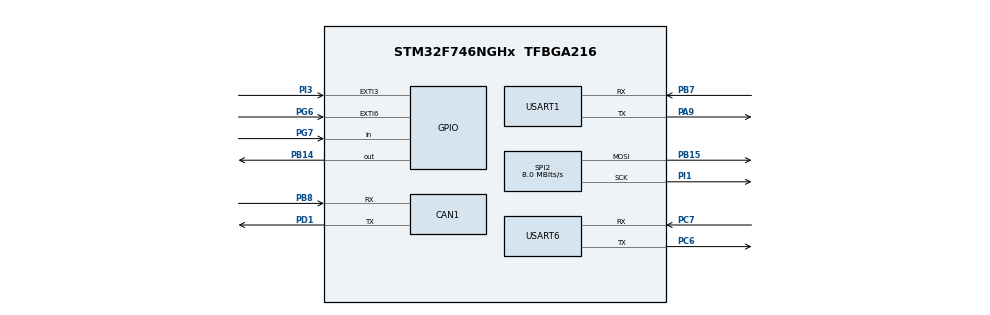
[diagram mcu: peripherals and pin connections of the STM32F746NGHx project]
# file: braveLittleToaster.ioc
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CAN1.CalculateTimeQuantum=1000.0
Mcu.Family=STM32F7
Mcu.Name=STM32F746NGHx
Mcu.Package=TFBGA216
NVIC.CAN1_RX1_IRQn=true\:0\:0\:false\:false\:true\:true
NVIC.CAN1_TX_IRQn=true\:0\:0\:false\:false\:true\:true
NVIC.EXTI3_IRQn=true\:0\:0\:false\:false\:true\:true
NVIC.EXTI9_5_IRQn=true\:0\:0\:false\:false\:true\:true
NVIC.PriorityGroup=NVIC_PRIORITYGROUP_4
NVIC.USART6_IRQn=true\:7\:0\:true\:false\:true\:true
PA9.Mode=Asynchronous
PA9.Signal=USART1_TX
PB14.Signal=GPIO_Output
PB15.Mode=TX_Only_Simplex_Unidirect_Master
PB15.Signal=SPI2_MOSI
PB7.Mode=Asynchronous
PB7.Signal=USART1_RX
PB8.Mode=Master
PB8.Signal=CAN1_RX
PC6.Mode=Asynchronous
PC6.Signal=USART6_TX
PC7.Mode=Asynchronous
PC7.Signal=USART6_RX
PD1.Mode=Master
PD1.Signal=CAN1_TX
PG6.GPIO_PuPd=GPIO_PULLUP
PG6.Signal=GPXTI6
PG7.GPIO_PuPd=GPIO_PULLUP
PG7.Signal=GPIO_Input
PI1.Mode=TX_Only_Simplex_Unidirect_Master
PI1.Signal=SPI2_SCK
PI3.GPIO_ModeDefaultEXTI=GPIO_MODE_IT_RISING_FALLING
PI3.GPIO_PuPd=GPIO_PULLUP
PI3.Signal=GPXTI3
ProjectManager.HeapSize=0x200
ProjectManager.StackSize=0x400
ProjectManager.TargetToolchain=Other Toolchains (GPDSC)
RCC.HSE_VALUE=25000000
RCC.HSI_VALUE=16000000
RCC.LSE_VALUE=32768
RCC.USBFreq_Value=96000000
RCC.VCOOutputFreq_Value=192000000
SPI2.CalculateBaudRate=8.0 MBits/s
SPI2.Direction=SPI_DIRECTION_2LINES
SPI2.Mode=SPI_MODE_MASTER
SPI2.VirtualType=VM_MASTER
USART1.VirtualMode-Asynchronous=VM_ASYNC
USART6.VirtualMode-Asynchronous=VM_ASYNC
board=custom

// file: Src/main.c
/**
  ******************************************************************************
  * @file           : main.c
  * @brief          : Main program body
  ******************************************************************************
  ** This notice applies to any and all portions of this file
  * that are not between comment pairs USER CODE BEGIN and
  * USER CODE END. Other portions of this file, whether
  * inserted by the user or by software development tools
  * are owned by their respective copyright owners.
  *
  * COPYRIGHT(c) 2018 STMicroelectronics
  *
  * Redistribution and use in source and binary forms, with or without modification,
  * are permitted provided that the following conditions are met:
  *   1. Redistributions of source code must retain the above copyright notice,
  *      this list of conditions and the following disclaimer.
  *   2. Redistributions in binary form must reproduce the above copyright notice,
  *      this list of conditions and the following disclaimer in the documentation
  *      and/or other materials provided with the distribution.
  *   3. Neither the name of STMicroelectronics nor the names of its contributors
  *      may be used to endorse or promote products derived from this software
  *      without specific prior written permission.
  *
  * THIS SOFTWARE IS PROVIDED BY THE COPYRIGHT HOLDERS AND CONTRIBUTORS "AS IS"
  * AND ANY EXPRESS OR IMPLIED WARRANTIES, INCLUDING, BUT NOT LIMITED TO, THE
  * IMPLIED WARRANTIES OF MERCHANTABILITY AND FITNESS FOR A PARTICULAR PURPOSE ARE
  * DISCLAIMED. IN NO EVENT SHALL THE COPYRIGHT HOLDER OR CONTRIBUTORS BE LIABLE
  * FOR ANY DIRECT, INDIRECT, INCIDENTAL, SPECIAL, EXEMPLARY, OR CONSEQUENTIAL
  * DAMAGES (INCLUDING, BUT NOT LIMITED TO, PROCUREMENT OF SUBSTITUTE GOODS OR
  * SERVICES; LOSS OF USE, DATA, OR PROFITS; OR BUSINESS INTERRUPTION) HOWEVER
  * CAUSED AND ON ANY THEORY OF LIABILITY, WHETHER IN CONTRACT, STRICT LIABILITY,
  * OR TORT (INCLUDING NEGLIGENCE OR OTHERWISE) ARISING IN ANY WAY OUT OF THE USE
  * OF THIS SOFTWARE, EVEN IF ADVISED OF THE POSSIBILITY OF SUCH DAMAGE.
  *
  ******************************************************************************
  */
#include "main.h"
#include "stm32f7xx_hal.h"

/* USER CODE BEGIN Includes */

#define ledLevelsFromEncoderTest
//#define allLedsTransitionTest
//#define knightRiderTest
//#define scrollColorTest
//#define allLedsWhiteTest

/* USER CODE END Includes */

CAN_HandleTypeDef hcan1;

SPI_HandleTypeDef hspi2;

UART_HandleTypeDef huart1;
UART_HandleTypeDef huart6;

/* USER CODE BEGIN PV */
/* Private variables ---------------------------------------------------------*/

LED_PTR led_array[NUM_LEDS];
TLC5947 tlc5947;
BUTTON button;
ENCODER encoder;
DEBUG_MSG debugOutput;

uint8_t serialDebugRxChar[2];

CAN_TxHeaderTypeDef   TxHeader;
CAN_RxHeaderTypeDef   RxHeader;
uint8_t               TxData[8];
uint8_t               RxData[8];
uint32_t              TxMailbox;

/* USER CODE END PV */

void SystemClock_Config(void);
static void MX_GPIO_Init(void);
static void MX_SPI2_Init(void);
static void MX_USART1_UART_Init(void);
static void MX_USART6_UART_Init(void);
static void MX_CAN1_Init(void);

/* USER CODE BEGIN PFP */

/* Private function prototypes -----------------------------------------------*/
static void mapLedPointersToPwmOutputs(TLC5947 * tlc5947, LED_PTR led_array[], unsigned char numLeds);

extern unsigned int rgbTransitionLEDColor(COLOR color, LED_PTR lednum);
extern void rgbSetLEDColorAndLevel(COLOR color, LED_PTR lednum);
extern void rgbCalculateLedLevels(unsigned char zoneLevel, LED_PTR led_array[], unsigned int num_leds);
extern COLOR colors[MAX_COLOR_STRUCTS];

extern void tlc5947Init(TLC5947 * tlc5947, SPI_HandleTypeDef * spi, GPIO_TypeDef * latchGpioGroup, uint16_t latchGpioPin);
extern void tlc5947SetPWMOutputsFromBuffer(TLC5947 * tlc5947);

extern void buttonInit(BUTTON * button, GPIO_TypeDef * gpioGroup, uint16_t gpioPin);
extern void encoderInit(ENCODER * encoder, GPIO_TypeDef * encAGpioGroup, GPIO_TypeDef * encBGpioGroup, uint16_t encAGpioPin, uint16_t encBGpioPin);

extern void serialDebugRead(UART_HandleTypeDef * uart);

extern void HAL_GPIO_EXTI_Callback(uint16_t GPIO_Pin);

extern int strncmp(const char *s1, const char *s2, size_t n);

/* USER CODE END PFP */

int main(void)
{

	/* MCU Configuration----------------------------------------------------------*/

	/* Reset of all peripherals, Initializes the Flash interface and the Systick. */
	HAL_Init();

	/* Configure the system clock */
	SystemClock_Config();

	/* Initialize all configured peripherals */
	MX_GPIO_Init();
	MX_SPI2_Init();
	MX_USART1_UART_Init();
	MX_USART6_UART_Init();
	MX_CAN1_Init();

	/* USER CODE BEGIN 2 */

	CAN_FilterTypeDef  sFilterConfig;
	sFilterConfig.FilterBank = 0;
	sFilterConfig.FilterMode = CAN_FILTERMODE_IDMASK;
	sFilterConfig.FilterScale = CAN_FILTERSCALE_32BIT;
	sFilterConfig.FilterIdHigh = 0x0000;
	sFilterConfig.FilterIdLow = 0x0000;
	sFilterConfig.FilterMaskIdHigh = 0x0000;
	sFilterConfig.FilterMaskIdLow = 0x0000;
	sFilterConfig.FilterFIFOAssignment = CAN_RX_FIFO0;
	sFilterConfig.FilterActivation = ENABLE;
	sFilterConfig.SlaveStartFilterBank = 14;
	if (HAL_CAN_ConfigFilter(&hcan1, &sFilterConfig) != HAL_OK)
	{
		/* Filter configuration Error */
		Error_Handler();
	}
	if (HAL_CAN_Start(&hcan1) != HAL_OK)
	{
		/* Filter configuration Error */
		Error_Handler();
	}

	tlc5947Init(&tlc5947, &hspi2, GPIOB, GPIO_PIN_14);
	buttonInit(&button, GPIOI, GPIO_PIN_3);
	encoderInit(&encoder, GPIOG, GPIOG, GPIO_PIN_6, GPIO_PIN_7);

	HAL_StatusTypeDef status;

	mapLedPointersToPwmOutputs(&tlc5947, led_array, NUM_LEDS);

	/* USER CODE END 2 */

	/* Infinite loop */
	/* USER CODE BEGIN WHILE */

	while (1)
	{

	#ifdef allLedsWhiteTest
		int i;
		for (i = 0; i < PWM_BUFLEN; i++)
		{
			tlc5947.pwmBuffer.buf[i] = 0xff;
		}
		tlc5947SetPWMOutputsFromBuffer(&tlc5947);
		HAL_Delay(1000);

		for (i = 0; i < PWM_BUFLEN; i++)
		{
			tlc5947.pwmBuffer.buf[i] = 0x00;
		}
		tlc5947SetPWMOutputsFromBuffer(&tlc5947);
		HAL_Delay(1000);
		#endif

		#ifdef scrollColorTest
		static int color = 0;
		static int led = 0;
		for (int i = 0; i < PWM_BUFLEN; i++)
		{
			tlc5947.pwmBuffer.buf[i] = 0;    //comment out for different effect
		}

		led_array[led].level = MAX_LED_LEVEL;
		rgbSetLEDColorAndLevel(colors[color], led_array[led]);
		led++;
		if (led >= NUM_LEDS)
		{
			led = 0;
			color++;
			if (color >= MAX_COLOR_STRUCTS) color = 0;
		}
		tlc5947SetPWMOutputsFromBuffer(&tlc5947);
		HAL_Delay(125);
		#endif

		#ifdef knightRiderTest
		static int color = 0;
		static int led = 0;
		static int direction = 1;
		for (int i = 0; i < PWM_BUFLEN; i++)
		{
			tlc5947.pwmBuffer.buf[i] = 0;
		}
		rgbCalculateLedLevels(MAX_LED_LEVEL, led_array, NUM_LEDS);

		if (led < NUM_LEDS && led >= 0)
			rgbSetLEDColorAndLevel(colors[color], led_array[led]);
		if (led + 1 < NUM_LEDS)
			rgbSetLEDColorAndLevel(colors[color], led_array[led + 1]);
		if (led - 1 >= 0)
			rgbSetLEDColorAndLevel(colors[color], led_array[led - 1]);
		if (direction == 1) led++;
		else if (direction == -1) led--;

		if (led >= NUM_LEDS)
		{
			direction = -1;
		}

		if (led < 0)
		{
			direction = 1;
			color++;
			if (color >= MAX_COLOR_STRUCTS) color = 0;
		}
		tlc5947SetPWMOutputsFromBuffer(&tlc5947);
		HAL_Delay(75);
		#endif

		#ifdef allLedsTransitionTest
		static int color_struct = 0;
		///*
		for(int i = 0 ; i < NUM_LEDS - 1 ; i++) //do all but last led here...
		{
			rgbTransitionLEDColor(colors[color_struct], /*i*/led_array[i]);
		}
		//*/
		//transitionLEDColor(colors[color_struct], 1);
		if(rgbTransitionLEDColor(colors[color_struct], /*NUM_LEDS - 1*/led_array[NUM_LEDS - 1])) //...do final led and check for transition
		{
			color_struct++;
			HAL_Delay(500);     //pause on this color for a bit
		}
		if (color_struct == MAX_COLOR_STRUCTS)
		{
			color_struct = 0;
		}
		//tlc5947SetPWMOutputsFromBuffer(pwmOutputs, REAL_PWM_LEN);
		tlc5947SetPWMOutputsFromBuffer(&tlc5947);

		//HAL_Delay(10); //debug
		#endif

		#ifdef	ledLevelsFromEncoderTest

		rgbCalculateLedLevels(encoder.position, led_array, NUM_LEDS);

		for (int i = 0; i < NUM_LEDS; i++)
		{
			if (button.muted == 1)
				rgbSetLEDColorAndLevel(colors[RED], led_array[i]);
			else
				rgbSetLEDColorAndLevel(colors[GREEN], led_array[i]);
		}
		tlc5947SetPWMOutputsFromBuffer(&tlc5947);
		#endif

		HAL_UART_Receive_IT(&huart6, serialDebugRxChar, 1); 		//interrupt every character! callback will decide what to do with it

		if(debugOutput.response[0] != 0) //if there is anything in the debug output buffer, print it
		{
			HAL_UART_Transmit(&huart6, debugOutput.response, sizeof(debugOutput.response), HAL_MAX_DELAY);
			for (int i = 0; i < MSG_RESPONSE_LEN; i++) debugOutput.response[i] = 0;
		}

		/*##-4- Start the Transmission process #####################################*/
		/*
		TxHeader.StdId = 0x11;
		TxHeader.RTR = CAN_RTR_DATA;
		TxHeader.IDE = CAN_ID_STD;
		TxHeader.DLC = 2;
		TxHeader.TransmitGlobalTime = DISABLE;
		TxData[0] = 0xCA;
		TxData[1] = 0xFE;

		uint32_t timeNow;
		static uint32_t timeThen = 0;
		static int okay;
		timeNow = HAL_GetTick();
		if (timeNow - timeThen > 20)
		{
			if (HAL_CAN_AddTxMessage(&hcan1, &TxHeader, TxData, &TxMailbox) != HAL_OK)
			{
				uint32_t free;
				free = HAL_CAN_GetTxMailboxesFreeLevel(&hcan1);

				Error_Handler();
			}
			else
			{
				okay++;
			}
			timeThen = timeNow;
		}
		*/
		/* USER CODE END WHILE */

	}
}

void SystemClock_Config(void)
{

  RCC_OscInitTypeDef RCC_OscInitStruct;
  RCC_ClkInitTypeDef RCC_ClkInitStruct;
  RCC_PeriphCLKInitTypeDef PeriphClkInitStruct;

    /**Configure the main internal regulator output voltage
    */
  __HAL_RCC_PWR_CLK_ENABLE();

  __HAL_PWR_VOLTAGESCALING_CONFIG(PWR_REGULATOR_VOLTAGE_SCALE3);

    /**Initializes the CPU, AHB and APB busses clocks
    */
  RCC_OscInitStruct.OscillatorType = RCC_OSCILLATORTYPE_HSI;
  RCC_OscInitStruct.HSIState = RCC_HSI_ON;
  RCC_OscInitStruct.HSICalibrationValue = 16;
  RCC_OscInitStruct.PLL.PLLState = RCC_PLL_NONE;
  if (HAL_RCC_OscConfig(&RCC_OscInitStruct) != HAL_OK)
  {
    _Error_Handler(__FILE__, __LINE__);
  }

    /**Initializes the CPU, AHB and APB busses clocks
    */
  RCC_ClkInitStruct.ClockType = RCC_CLOCKTYPE_HCLK|RCC_CLOCKTYPE_SYSCLK
                              |RCC_CLOCKTYPE_PCLK1|RCC_CLOCKTYPE_PCLK2;
  RCC_ClkInitStruct.SYSCLKSource = RCC_SYSCLKSOURCE_HSI;
  RCC_ClkInitStruct.AHBCLKDivider = RCC_SYSCLK_DIV1;
  RCC_ClkInitStruct.APB1CLKDivider = RCC_HCLK_DIV1;
  RCC_ClkInitStruct.APB2CLKDivider = RCC_HCLK_DIV1;

  if (HAL_RCC_ClockConfig(&RCC_ClkInitStruct, FLASH_LATENCY_0) != HAL_OK)
  {
    _Error_Handler(__FILE__, __LINE__);
  }

  PeriphClkInitStruct.PeriphClockSelection = RCC_PERIPHCLK_USART1|RCC_PERIPHCLK_USART6;
  PeriphClkInitStruct.Usart1ClockSelection = RCC_USART1CLKSOURCE_PCLK2;
  PeriphClkInitStruct.Usart6ClockSelection = RCC_USART6CLKSOURCE_PCLK2;
  if (HAL_RCCEx_PeriphCLKConfig(&PeriphClkInitStruct) != HAL_OK)
  {
    _Error_Handler(__FILE__, __LINE__);
  }

    /**Configure the Systick interrupt time
    */
  HAL_SYSTICK_Config(HAL_RCC_GetHCLKFreq()/1000);

    /**Configure the Systick
    */
  HAL_SYSTICK_CLKSourceConfig(SYSTICK_CLKSOURCE_HCLK);

  /* SysTick_IRQn interrupt configuration */
  HAL_NVIC_SetPriority(SysTick_IRQn, 0, 0);
}

/* CAN1 init function */
static void MX_CAN1_Init(void)
{

  hcan1.Instance = CAN1;
  hcan1.Init.Prescaler = 16;
  hcan1.Init.Mode = CAN_MODE_NORMAL;
  hcan1.Init.SyncJumpWidth = CAN_SJW_1TQ;
  hcan1.Init.TimeSeg1 = CAN_BS1_1TQ;
  hcan1.Init.TimeSeg2 = CAN_BS2_1TQ;
  hcan1.Init.TimeTriggeredMode = DISABLE;
  hcan1.Init.AutoBusOff = DISABLE;
  hcan1.Init.AutoWakeUp = DISABLE;
  hcan1.Init.AutoRetransmission = DISABLE;
  hcan1.Init.ReceiveFifoLocked = DISABLE;
  hcan1.Init.TransmitFifoPriority = DISABLE;
  if (HAL_CAN_Init(&hcan1) != HAL_OK)
  {
    _Error_Handler(__FILE__, __LINE__);
  }

}

/* SPI2 init function */
static void MX_SPI2_Init(void)
{

  /* SPI2 parameter configuration*/
  hspi2.Instance = SPI2;
  hspi2.Init.Mode = SPI_MODE_MASTER;
  hspi2.Init.Direction = SPI_DIRECTION_2LINES;
  hspi2.Init.DataSize = SPI_DATASIZE_4BIT;
  hspi2.Init.CLKPolarity = SPI_POLARITY_LOW;
  hspi2.Init.CLKPhase = SPI_PHASE_1EDGE;
  hspi2.Init.NSS = SPI_NSS_SOFT;
  hspi2.Init.BaudRatePrescaler = SPI_BAUDRATEPRESCALER_2;
  hspi2.Init.FirstBit = SPI_FIRSTBIT_MSB;
  hspi2.Init.TIMode = SPI_TIMODE_DISABLE;
  hspi2.Init.CRCCalculation = SPI_CRCCALCULATION_DISABLE;
  hspi2.Init.CRCPolynomial = 7;
  hspi2.Init.CRCLength = SPI_CRC_LENGTH_DATASIZE;
  hspi2.Init.NSSPMode = SPI_NSS_PULSE_ENABLE;
  if (HAL_SPI_Init(&hspi2) != HAL_OK)
  {
    _Error_Handler(__FILE__, __LINE__);
  }

}

/* USART1 init function */
static void MX_USART1_UART_Init(void)
{

  huart1.Instance = USART1;
  huart1.Init.BaudRate = 115200;
  huart1.Init.WordLength = UART_WORDLENGTH_8B;
  huart1.Init.StopBits = UART_STOPBITS_1;
  huart1.Init.Parity = UART_PARITY_NONE;
  huart1.Init.Mode = UART_MODE_TX_RX;
  huart1.Init.HwFlowCtl = UART_HWCONTROL_NONE;
  huart1.Init.OverSampling = UART_OVERSAMPLING_16;
  huart1.Init.OneBitSampling = UART_ONE_BIT_SAMPLE_DISABLE;
  huart1.AdvancedInit.AdvFeatureInit = UART_ADVFEATURE_NO_INIT;
  if (HAL_UART_Init(&huart1) != HAL_OK)
  {
    _Error_Handler(__FILE__, __LINE__);
  }

}

/* USART6 init function */
static void MX_USART6_UART_Init(void)
{

  huart6.Instance = USART6;
  huart6.Init.BaudRate = 115200;
  huart6.Init.WordLength = UART_WORDLENGTH_8B;
  huart6.Init.StopBits = UART_STOPBITS_1;
  huart6.Init.Parity = UART_PARITY_NONE;
  huart6.Init.Mode = UART_MODE_TX_RX;
  huart6.Init.HwFlowCtl = UART_HWCONTROL_NONE;
  huart6.Init.OverSampling = UART_OVERSAMPLING_16;
  huart6.Init.OneBitSampling = UART_ONE_BIT_SAMPLE_DISABLE;
  huart6.AdvancedInit.AdvFeatureInit = UART_ADVFEATURE_NO_INIT;
  if (HAL_UART_Init(&huart6) != HAL_OK)
  {
    _Error_Handler(__FILE__, __LINE__);
  }

}

/** Configure pins as
        * Analog
        * Input
        * Output
        * EVENT_OUT
        * EXTI
*/
static void MX_GPIO_Init(void)
{

  GPIO_InitTypeDef GPIO_InitStruct;

  /* GPIO Ports Clock Enable */
  __HAL_RCC_GPIOB_CLK_ENABLE();
  __HAL_RCC_GPIOD_CLK_ENABLE();
  __HAL_RCC_GPIOI_CLK_ENABLE();
  __HAL_RCC_GPIOA_CLK_ENABLE();
  __HAL_RCC_GPIOC_CLK_ENABLE();
  __HAL_RCC_GPIOG_CLK_ENABLE();

  /*Configure GPIO pin Output Level */
  HAL_GPIO_WritePin(GPIOB, GPIO_PIN_14, GPIO_PIN_RESET);

  /*Configure GPIO pin : PI3 */
  GPIO_InitStruct.Pin = GPIO_PIN_3;
  GPIO_InitStruct.Mode = GPIO_MODE_IT_RISING_FALLING;
  GPIO_InitStruct.Pull = GPIO_PULLUP;
  HAL_GPIO_Init(GPIOI, &GPIO_InitStruct);

  /*Configure GPIO pin : PG7 */
  GPIO_InitStruct.Pin = GPIO_PIN_7;
  GPIO_InitStruct.Mode = GPIO_MODE_INPUT;
  GPIO_InitStruct.Pull = GPIO_PULLUP;
  HAL_GPIO_Init(GPIOG, &GPIO_InitStruct);

  /*Configure GPIO pin : PG6 */
  GPIO_InitStruct.Pin = GPIO_PIN_6;
  GPIO_InitStruct.Mode = GPIO_MODE_IT_RISING;
  GPIO_InitStruct.Pull = GPIO_PULLUP;
  HAL_GPIO_Init(GPIOG, &GPIO_InitStruct);

  /*Configure GPIO pin : PB14 */
  GPIO_InitStruct.Pin = GPIO_PIN_14;
  GPIO_InitStruct.Mode = GPIO_MODE_OUTPUT_PP;
  GPIO_InitStruct.Pull = GPIO_NOPULL;
  GPIO_InitStruct.Speed = GPIO_SPEED_FREQ_LOW;
  HAL_GPIO_Init(GPIOB, &GPIO_InitStruct);

  /* EXTI interrupt init*/
  HAL_NVIC_SetPriority(EXTI3_IRQn, 0, 0);
  HAL_NVIC_EnableIRQ(EXTI3_IRQn);

  HAL_NVIC_SetPriority(EXTI9_5_IRQn, 0, 0);
  HAL_NVIC_EnableIRQ(EXTI9_5_IRQn);

}

/* USER CODE BEGIN 4 */
static void mapLedPointersToPwmOutputs(TLC5947 * tlc5947, LED_PTR led_array[], unsigned char numLeds)
{
	for (int i = 0; i < numLeds; i++)
	{
		for (int j = 0; j < LED_BYTES_PER_COLOR; j++)
		{
			led_array[i].r[j] = &tlc5947->pwmBuffer.buf[(LED_TOTAL_BYTE_WIDTH *(i + 1)) + j];     //(i + 1) instead of 1 because PWM outputs in reverse order, and last three pwm outputs have no LED connection (assuming 7 leds)
			led_array[i].g[j] = &tlc5947->pwmBuffer.buf[(LED_TOTAL_BYTE_WIDTH *(i + 1)) + j + LED_BYTES_PER_COLOR];
			led_array[i].b[j] = &tlc5947->pwmBuffer.buf[(LED_TOTAL_BYTE_WIDTH *(i + 1)) + j + (LED_BYTES_PER_COLOR * 2)];
		}
	}
}

void HAL_GPIO_EXTI_Callback(uint16_t GPIO_Pin)
{

	if(GPIO_Pin == button.gpioPin)
	{
		buttonRead(&button);
	}
	else if(GPIO_Pin == encoder.aGpioPin)
	{
		encoderRead(&encoder);
	}
}

void HAL_UART_RxCpltCallback(UART_HandleTypeDef *huart)
{
	if (huart == &huart6)
	{
		serialDebugRead(huart);
	}

}

/* USER CODE END 4 */

void _Error_Handler(char *file, int line)
{
  while(1)
  {
  }
}

/************************ (C) COPYRIGHT STMicroelectronics *****END OF FILE****/
